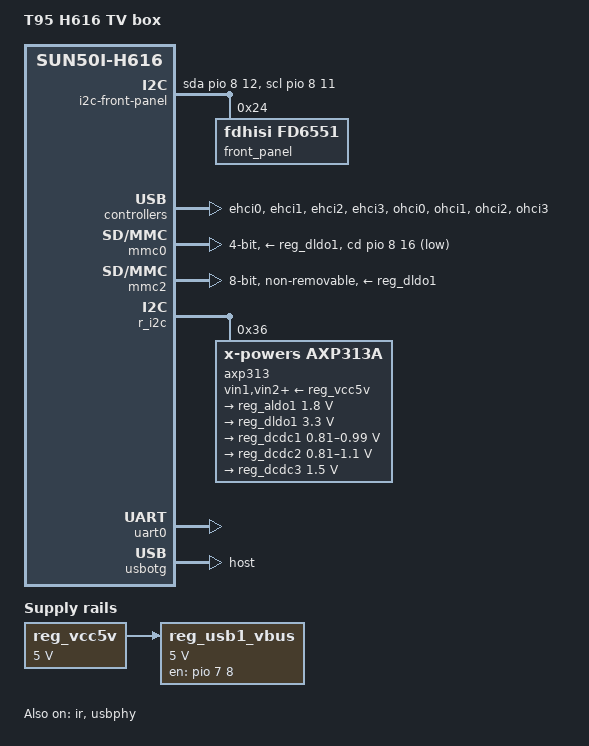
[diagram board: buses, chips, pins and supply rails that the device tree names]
// SPDX-License-Identifier: (GPL-2.0+ OR MIT)
/*
 * T95 (Allwinner H616, AXP1530/AXP313A, 4 GiB DDR3, 32 GB eMMC) TV box.
 *
 * Derived from sun50i-h618-transpeed-8k618-t.dts; board facts taken from
 * the vendor Android 10 device tree (backup/android/android.dts):
 *   - AXP1530 @ r_i2c 0x36: dcdc1 vdd-gpu-sys 0.96V, dcdc2 vdd-cpu,
 *     dcdc3 vdd-dram 1.5V (DDR3), aldo1 1.8V, dldo1 3.3V
 *   - microSD card-detect PI16, eMMC 8-bit on mmc2
 *   - USB1 VBUS enable on PH8, all four EHCI/OHCI pairs in use
 *   - Wi-Fi BCM43342 on mmc1 (PG18 reg-on) - unsupported by brcmfmac, left off
 *   - EMAC1 + internal AC300 EPHY - needs Linux >= 7.4, not described yet
 *   - FD655/FD6551 front-panel display on PI11 (clk) / PI12 (dat): bit-banged
 *     I2C, out-of-tree leds-fd6551 driver (board/drivers, DKMS)
 */

/dts-v1/;

#include "sun50i-h616.dtsi"
#include "sun50i-h616-cpu-opp.dtsi"

#include <dt-bindings/gpio/gpio.h>
#include <dt-bindings/interrupt-controller/arm-gic.h>
#include <dt-bindings/thermal/thermal.h>

/ {
	model = "T95 H616 TV box";
	compatible = "t95,h616-tvbox", "allwinner,sun50i-h616";

	aliases {
		mmc0 = &mmc0;
		mmc1 = &mmc2;
		serial0 = &uart0;
	};

	chosen {
		stdout-path = "serial0:115200n8";
	};

	/*
	 * ramoops: the kernel's last messages (panic, oops, console) are kept in
	 * this RAM and survive a watchdog or panic reset; systemd-pstore saves
	 * them to /var/lib/systemd/pstore on the next boot. Placed clear of
	 * U-Boot's load addresses (kernel/initrd/fdt below 0x53000000), the
	 * PREBOOT RAM test (0x50000000, 0xd0000000) and U-Boot's relocation
	 * near the top of RAM.
	 */
	reserved-memory {
		ramoops@7f800000 {
			compatible = "ramoops";
			reg = <0x0 0x7f800000 0x0 0x100000>;
			record-size = <0x20000>;
			console-size = <0x40000>;
			pmsg-size = <0x20000>;
			ecc-size = <16>;
		};
	};

	/*
	 * Front-panel display: FD6551 (FD650 family) on two GPIOs, I2C-like
	 * protocol where each 7-bit "address" is a register (0x24 control,
	 * 0x33 icons, 0x34..0x37 digits). Tested: clock is PI11, data PI12,
	 * and this chip never ACKs (bit-banged by hand, every segment lit with
	 * no ACK in either pin order), so both lines are output-only, which
	 * makes i2c-algo-bit skip the ACK check. Open-drain + internal pull-ups.
	 */
	i2c-front-panel {
		compatible = "i2c-gpio";
		#address-cells = <1>;
		#size-cells = <0>;
		sda-gpios = <&pio 8 12 (GPIO_ACTIVE_HIGH | GPIO_OPEN_DRAIN | GPIO_PULL_UP)>; /* PI12 */
		scl-gpios = <&pio 8 11 (GPIO_ACTIVE_HIGH | GPIO_OPEN_DRAIN | GPIO_PULL_UP)>; /* PI11 */
		i2c-gpio,sda-output-only;
		i2c-gpio,scl-output-only;
		i2c-gpio,delay-us = <5>;	/* ~100 kHz */

		front_panel: led-controller@24 {
			compatible = "fdhisi,fd6551";
			reg = <0x24>;
			/*
			 * Each digit is wired upside down (a<->d, b<->e, c<->f); the
			 * digit order itself is normal. Tested on the panel.
			 */
			segment-map = /bits/ 8 <3 4 5 0 1 2 6 7>;

			/* icon bits, mapped on the real panel; bit 7 drives nothing */
			led-0 { label = "fd6551::clock"; bit = <0>; };
			led-1 { label = "fd6551::usb"; bit = <1>; };
			led-2 { label = "fd6551::play"; bit = <2>; };
			led-3 { label = "fd6551::pause"; bit = <3>; };
			led-4 { label = "fd6551::colon"; bit = <4>; };
			led-5 { label = "fd6551::net"; bit = <5>; };
			led-6 { label = "fd6551::wifi"; bit = <6>; };
		};
	};

	reg_vcc5v: vcc5v {
		/* board wide 5V supply directly from the DC input */
		compatible = "regulator-fixed";
		regulator-name = "vcc-5v";
		regulator-min-microvolt = <5000000>;
		regulator-max-microvolt = <5000000>;
		regulator-always-on;
	};

	reg_usb1_vbus: usb1-vbus {
		compatible = "regulator-fixed";
		regulator-name = "usb1-vbus";
		regulator-min-microvolt = <5000000>;
		regulator-max-microvolt = <5000000>;
		vin-supply = <&reg_vcc5v>;
		enable-active-high;
		gpio = <&pio 7 8 GPIO_ACTIVE_HIGH>;	/* PH8 */
	};
};

&cpu0 {
	cpu-supply = <&reg_dcdc2>;
};

/*
 * sun50i-h616.dtsi defines the cpu-thermal trips but no cooling map, so
 * nothing ever throttles before the 110 C critical shutdown. Throttle the
 * CPU cluster (one cpufreq policy) from the 70 C passive trip, like H6.
 */
&{/thermal-zones/cpu-thermal} {
	cooling-maps {
		map0 {
			trip = <&cpu_target>;
			cooling-device = <&cpu0 THERMAL_NO_LIMIT THERMAL_NO_LIMIT>,
					 <&cpu1 THERMAL_NO_LIMIT THERMAL_NO_LIMIT>,
					 <&cpu2 THERMAL_NO_LIMIT THERMAL_NO_LIMIT>,
					 <&cpu3 THERMAL_NO_LIMIT THERMAL_NO_LIMIT>;
		};
	};
};

&ehci0 {
	status = "okay";
};

&ehci1 {
	status = "okay";
};

&ehci2 {
	status = "okay";
};

&ehci3 {
	status = "okay";
};

&ir {
	status = "okay";
};

&mmc0 {
	/* microSD */
	vmmc-supply = <&reg_dldo1>;
	cd-gpios = <&pio 8 16 GPIO_ACTIVE_LOW>;	/* PI16 */
	disable-wp;
	bus-width = <4>;
	status = "okay";
};

&mmc2 {
	/*
	 * eMMC. Vendor kernel: cap-mmc-highspeed only, 50 MHz. DDR52 gave
	 * "data error ... send stop command failed" and stalled udev, so run
	 * plain SDR high-speed like Android does.
	 *
	 * sunxi-mmc forces MMC_CAP_1_8V_DDR on every "new timings" controller
	 * and only exempts nodes compatible with sun50i-h5-emmc (boards whose
	 * traces can't do DDR). Appending that string keeps the a100-emmc
	 * driver config (best match) but turns DDR off.
	 */
	compatible = "allwinner,sun50i-h616-emmc",
		     "allwinner,sun50i-a100-emmc",
		     "allwinner,sun50i-h5-emmc";
	/* inherited from sun50i-h616.dtsi; I/O here is 1.8 V, and DDR fails */
	/delete-property/ mmc-ddr-3_3v;
	vmmc-supply = <&reg_dldo1>;
	vqmmc-supply = <&reg_aldo1>;
	bus-width = <8>;
	non-removable;
	cap-mmc-hw-reset;
	max-frequency = <52000000>;
	status = "okay";
};

&ohci0 {
	status = "okay";
};

&ohci1 {
	status = "okay";
};

&ohci2 {
	status = "okay";
};

&ohci3 {
	status = "okay";
};

&r_i2c {
	status = "okay";

	axp313: pmic@36 {
		/* AXP1530: reg 0x03 = 0x4b, register compatible with AXP313A */
		compatible = "x-powers,axp313a";
		reg = <0x36>;
		#interrupt-cells = <1>;
		interrupt-controller;

		vin1-supply = <&reg_vcc5v>;
		vin2-supply = <&reg_vcc5v>;
		vin3-supply = <&reg_vcc5v>;

		regulators {
			reg_aldo1: aldo1 {
				regulator-always-on;
				regulator-min-microvolt = <1800000>;
				regulator-max-microvolt = <1800000>;
				regulator-name = "vcc-1v8";
			};

			reg_dldo1: dldo1 {
				regulator-always-on;
				regulator-min-microvolt = <3300000>;
				regulator-max-microvolt = <3300000>;
				regulator-name = "vcc-3v3-io-mmc";
			};

			reg_dcdc1: dcdc1 {
				regulator-always-on;
				regulator-min-microvolt = <810000>;
				regulator-max-microvolt = <990000>;
				regulator-name = "vdd-gpu-sys";
			};

			reg_dcdc2: dcdc2 {
				regulator-always-on;
				regulator-min-microvolt = <810000>;
				regulator-max-microvolt = <1100000>;
				regulator-name = "vdd-cpu";
			};

			reg_dcdc3: dcdc3 {
				regulator-always-on;
				regulator-min-microvolt = <1500000>;
				regulator-max-microvolt = <1500000>;
				regulator-name = "vdd-dram";
			};
		};
	};
};

/*
 * No vcc-p*-supply on &pio: the rails are always-on, and with Debian's
 * modular kernel (axp20x + i2c-mv64xxx are =m) those supplies make the
 * built-in pinctrl - and with it uart0 - wait for the PMIC module, so
 * clk_disable_unused gates the UART clock and the console goes silent.
 */

&uart0 {
	pinctrl-names = "default";
	pinctrl-0 = <&uart0_ph_pins>;
	status = "okay";
};

&usbotg {
	dr_mode = "host";
	status = "okay";
};

&usbphy {
	usb1_vbus-supply = <&reg_usb1_vbus>;
	status = "okay";
};
